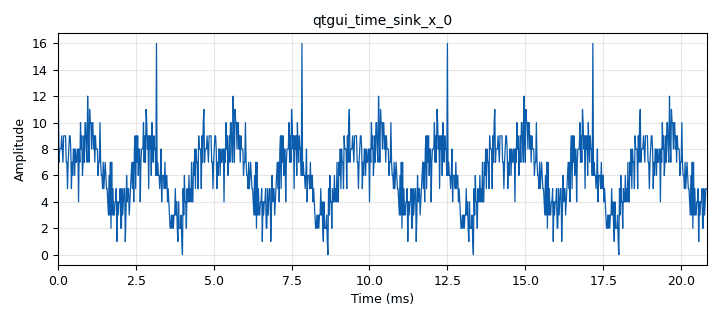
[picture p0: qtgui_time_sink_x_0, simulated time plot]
options:
  parameters:
    generate_options: qt_gui
    id: test_pkt_gen_demo
    output_language: python
    title: Test Packet Generation demo
  states: {}

blocks:
- name: access_code
  id: variable
  parameters:
    value: '"11100001010110101110100010010011"'
  states: {}
- name: format_used
  id: variable
  parameters:
    value: digital.header_format_default(access_code, 0)
  states: {}
- name: pkt_len
  id: variable
  parameters:
    value: '16'
  states: {}
- name: samp_rate
  id: variable
  parameters:
    value: '48000'
  states: {}
- name: blocks_char_to_float_0
  id: blocks_char_to_float
  parameters:
    scale: '1'
  states: {}
- name: blocks_complex_to_float_0
  id: blocks_complex_to_float
  parameters: {}
  states: {}
- name: blocks_float_to_complex_0
  id: blocks_float_to_complex
  parameters: {}
  states: {}
- name: blocks_message_strobe_0
  id: blocks_message_strobe
  parameters:
    msg: pmt.cons(pmt.PMT_NIL, pmt.init_u8vector(16, [0x48,0x65,0x6c,0x6c,0x6f,0x2c,0x20,0x57,0x6f,0x72,0x6c,0x64,0x21]))
    period: '1000'
  states: {}
- name: blocks_null_sink_0
  id: blocks_null_sink
  parameters:
    type: complex
  states: {state: disabled}
- name: blocks_null_sink_1
  id: blocks_null_sink
  parameters:
    type: float
  states: {}
- name: blocks_stream_to_tagged_stream_0
  id: blocks_stream_to_tagged_stream
  parameters:
    len_tag_key: '"packet_len"'
    packet_len: pkt_len
    type: byte
  states: {}
- name: blocks_tag_debug_0
  id: blocks_tag_debug
  parameters:
    filter: '"phase_est"'
    name: Phase Estimator
    type: complex
  states: {}
- name: blocks_tag_gate_0
  id: blocks_tag_gate
  parameters:
    propagate_tags: 'False'
    type: complex
  states: {}
- name: blocks_tagged_stream_mux_0
  id: blocks_tagged_stream_mux
  parameters:
    lengthtagname: packet_len
    ninputs: '2'
    type: byte
  states: {}
- name: blocks_throttle2_0
  id: blocks_throttle2
  parameters:
    samples_per_second: samp_rate
    type: byte
  states: {}
- name: blocks_unpack_k_bits_bb_0
  id: blocks_unpack_k_bits_bb
  parameters:
    k: '8'
  states: {}
- name: blocks_vector_source_x_0
  id: blocks_vector_source_x
  parameters:
    repeat: 'True'
    type: float
    vector: (0,)
  states: {}
- name: digital_corr_est_cc_0
  id: digital_corr_est_cc
  parameters:
    mark_delay: '0'
    sps: '1'
    symbols: '[complex(x) for x in list(access_code)]'
    threshold: '0'
    threshold_method: digital.THRESHOLD_ABSOLUTE
  states: {}
- name: digital_crc32_bb_0
  id: digital_crc32_bb
  parameters:
    check: 'False'
    lengthtagname: '"packet_len"'
    packed: 'True'
  states: {}
- name: digital_protocol_formatter_bb_0
  id: digital_protocol_formatter_bb
  parameters:
    format: format_used
    len_tag_key: '"packet_len"'
  states: {}
- name: pdu_pdu_to_tagged_stream_0
  id: pdu_pdu_to_tagged_stream
  parameters:
    tag: packet_len
    type: byte
  states: {}
- name: qtgui_time_sink_x_0
  id: qtgui_time_sink_x
  parameters:
    autoscale: 'True'
    size: '1000'
    srate: samp_rate
    type: float
    ymax: '17'
  states: {}
- name: virtual_sink_0
  id: virtual_sink
  parameters:
    stream_id: pkt_bytes
  states: {}
- name: virtual_sink_1
  id: virtual_sink
  parameters:
    stream_id: msg_bytes
  states: {}
- name: virtual_source_0
  id: virtual_source
  parameters:
    stream_id: pkt_bytes
  states: {}
- name: virtual_source_1
  id: virtual_source
  parameters:
    stream_id: msg_bytes
  states: {}

connections:
- [blocks_char_to_float_0, '0', blocks_float_to_complex_0, '0']
- [blocks_complex_to_float_0, '0', qtgui_time_sink_x_0, '0']
- [blocks_complex_to_float_0, '1', blocks_null_sink_1, '0']
- [blocks_float_to_complex_0, '0', digital_corr_est_cc_0, '0']
- [blocks_message_strobe_0, strobe, pdu_pdu_to_tagged_stream_0, pdus]
- [blocks_stream_to_tagged_stream_0, '0', digital_crc32_bb_0, '0']
- [blocks_tag_gate_0, '0', blocks_complex_to_float_0, '0']
- [blocks_tagged_stream_mux_0, '0', virtual_sink_0, '0']
- [blocks_throttle2_0, '0', blocks_stream_to_tagged_stream_0, '0']
- [blocks_unpack_k_bits_bb_0, '0', blocks_char_to_float_0, '0']
- [blocks_vector_source_x_0, '0', blocks_float_to_complex_0, '1']
- [digital_corr_est_cc_0, '0', blocks_null_sink_0, '0']
- [digital_corr_est_cc_0, '0', blocks_tag_debug_0, '0']
- [digital_corr_est_cc_0, '1', blocks_tag_gate_0, '0']
- [digital_crc32_bb_0, '0', blocks_tagged_stream_mux_0, '1']
- [digital_crc32_bb_0, '0', digital_protocol_formatter_bb_0, '0']
- [digital_protocol_formatter_bb_0, '0', blocks_tagged_stream_mux_0, '0']
- [pdu_pdu_to_tagged_stream_0, '0', virtual_sink_1, '0']
- [virtual_source_0, '0', blocks_unpack_k_bits_bb_0, '0']
- [virtual_source_1, '0', blocks_throttle2_0, '0']

metadata:
  file_format: 1
  grc_version: 3.10.9.2
